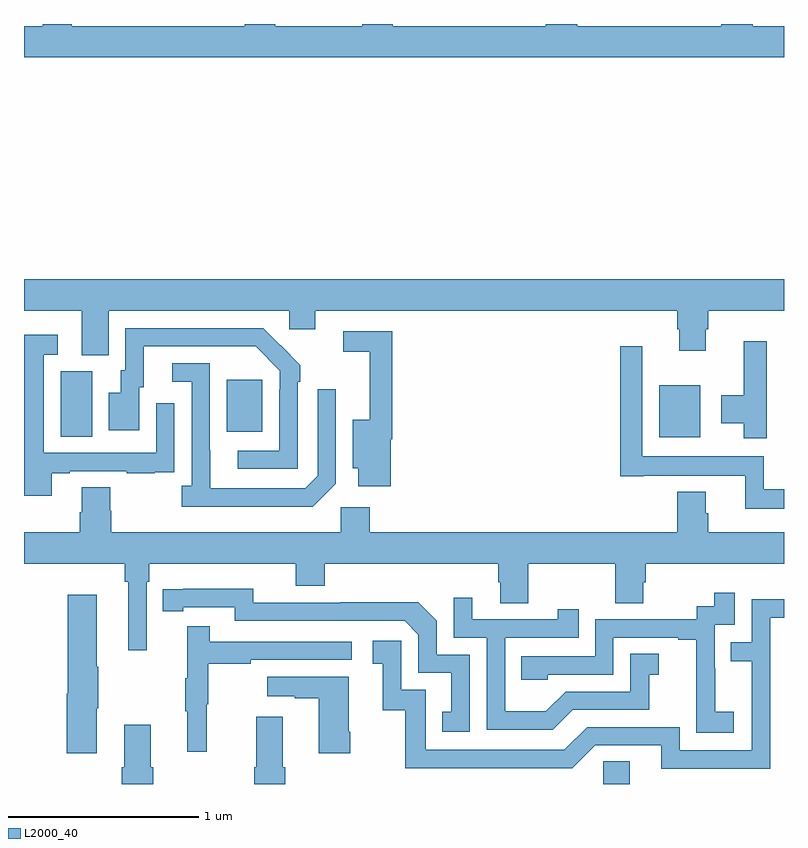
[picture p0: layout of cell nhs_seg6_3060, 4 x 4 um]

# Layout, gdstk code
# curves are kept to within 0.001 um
import gdstk
lib = gdstk.Library(unit=1e-6, precision=1e-09)
def R(c, l, rs):  # rectangles x0, y0, x1, y1
    for r in rs: c.add(gdstk.rectangle(r[:2], r[2:], *l))
def P(c, l, *ps):  # polygons
    for p in ps: c.add(gdstk.Polygon(p, *l))
L2000_40 = (2000, 40)

nhs_seg6_3060 = lib.new_cell('nhs_seg6_3060')
R(nhs_seg6_3060, L2000_40, [(294.048,955.5,294.187,955.619), (294.344,957.326,294.559,957.598), (291.194,957.328,291.358,957.672), (292.067,957.353,292.255,957.628)])
P(nhs_seg6_3060, L2000_40, [(295,959.488),(294.836,959.488),(294.836,959.5),(294.671,959.5),(294.671,959.488),(293.912,959.488),(293.912,959.5),(293.747,959.5),(293.747,959.488),(292.94,959.488),(292.94,959.5),(292.78,959.5),(292.78,959.488),(292.323,959.488),(292.323,959.5),(292.163,959.5),(292.163,959.488),(291.251,959.488),(291.251,959.5),(291.098,959.5),(291.098,959.488),(291,959.488),(291,959.324),(295,959.324)],
  [(291.445,957.992),(292.395,957.992),(292.395,957.894),(292.534,957.894),(292.534,957.992),(294.437,957.992),(294.437,957.894),(294.449,957.894),(294.449,957.78),(294.589,957.78),(294.589,957.894),(294.602,957.894),(294.602,957.992),(295,957.992),(295,958.156),(291,958.156),(291,957.992),(291.305,957.992),(291.305,957.757),(291.445,957.757)],
  [(292.44,957.617),(292.455,957.617),(292.455,957.705),(292.258,957.9),(291.534,957.9),(291.534,957.678),(291.509,957.678),(291.509,957.559),(291.446,957.559),(291.446,957.363),(291.607,957.363),(291.607,957.588),(291.631,957.588),(291.631,957.804),(292.219,957.804),(292.347,957.675),(292.347,957.575),(292.344,957.575),(292.344,957.255),(292.125,957.255),(292.125,957.159),(292.44,957.159)],
  [(292.931,957.314),(292.937,957.314),(292.937,957.882),(292.68,957.882),(292.68,957.774),(292.82,957.774),(292.82,957.418),(292.73,957.418),(292.73,957.161),(292.76,957.161),(292.76,957.066),(292.931,957.066)],
  [(291.145,957.135),(291.241,957.135),(291.241,957.147),(291.541,957.147),(291.541,957.135),(291.689,957.135),(291.689,957.141),(291.791,957.141),(291.791,957.25),(291.792,957.25),(291.792,957.505),(291.696,957.505),(291.696,957.243),(291.105,957.243),(291.105,957.759),(291.178,957.759),(291.178,957.865),(291,957.865),(291,957.018),(291.145,957.018)],
  [(294.91,957.829),(294.788,957.829),(294.788,957.546),(294.671,957.546),(294.671,957.398),(294.788,957.398),(294.788,957.321),(294.91,957.321)],
  [(295,957.052),(294.894,957.052),(294.894,957.226),(294.255,957.226),(294.255,957.805),(294.139,957.805),(294.139,957.12),(294.262,957.12),(294.262,957.122),(294.797,957.122),(294.797,956.948),(295,956.948)],
  [(292.641,957.081),(292.641,957.577),(292.545,957.577),(292.545,957.123),(292.479,957.057),(291.979,957.057),(291.978,957.714),(291.78,957.714),(291.78,957.618),(291.882,957.618),(291.882,957.07),(291.831,957.07),(291.831,956.96),(292.52,956.96)],
  [(291.645,956.564),(291.659,956.564),(291.659,956.66),(292.43,956.66),(292.43,956.543),(292.583,956.543),(292.583,956.66),(293.495,956.66),(293.495,956.562),(293.507,956.562),(293.507,956.452),(293.655,956.452),(293.655,956.66),(294.112,956.66),(294.112,956.452),(294.259,956.452),(294.259,956.562),(294.272,956.562),(294.272,956.66),(295,956.66),(295,956.824),(294.602,956.824),(294.602,956.925),(294.589,956.925),(294.589,957.037),(294.437,957.037),(294.437,956.824),(292.82,956.824),(292.82,956.956),(292.668,956.956),(292.668,956.824),(291.458,956.824),(291.458,956.937),(291.453,956.937),(291.453,957.062),(291.305,957.062),(291.305,956.93),(291.293,956.93),(291.293,956.824),(291,956.824),(291,956.66),(291.529,956.66),(291.529,956.564),(291.548,956.564),(291.548,956.205),(291.645,956.205)],
  [(293.346,956.181),(293.172,956.181),(293.172,956.358),(293.074,956.456),(292.666,956.456),(292.666,956.454),(292.206,956.454),(292.206,956.527),(291.73,956.526),(291.73,956.41),(291.838,956.41),(291.838,956.43),(292.11,956.43),(292.11,956.358),(293.004,956.358),(293.076,956.286),(293.076,956.085),(293.249,956.085),(293.249,955.881),(293.2,955.881),(293.2,955.776),(293.346,955.776)],
  [(294.736,955.879),(294.638,955.879),(294.638,956.108),(294.636,956.108),(294.636,956.337),(294.741,956.337),(294.741,956.506),(294.633,956.506),(294.633,956.436),(294.54,956.436),(294.54,956.367),(294.006,956.367),(294.006,956.172),(293.617,956.172),(293.617,956.049),(293.757,956.049),(293.757,956.076),(294.102,956.076),(294.102,956.271),(294.443,956.271),(294.443,956.259),(294.539,956.259),(294.539,955.975),(294.538,955.975),(294.538,955.769),(294.736,955.769)],
  [(291.382,955.9),(291.39,955.9),(291.39,956.117),(291.382,956.117),(291.382,956.497),(291.229,956.497),(291.229,955.974),(291.224,955.974),(291.224,955.662),(291.382,955.662)],
  [(293.887,955.89),(294.291,955.89),(294.291,956.075),(294.34,956.075),(294.34,956.185),(294.192,956.185),(294.192,955.986),(293.85,955.986),(293.746,955.882),(293.532,955.882),(293.532,956.271),(293.921,956.271),(293.921,956.419),(293.81,956.419),(293.81,956.367),(293.359,956.367),(293.359,956.479),(293.262,956.479),(293.262,956.271),(293.436,956.271),(293.436,955.785),(293.782,955.785)],
  [(294.927,956.376),(295,956.376),(295,956.472),(294.831,956.472),(294.831,956.247),(294.721,956.247),(294.721,956.146),(294.831,956.146),(294.831,955.677),(294.45,955.677),(294.45,955.8),(293.964,955.8),(293.844,955.68),(293.115,955.68),(293.115,955.995),(292.986,955.995),(292.986,956.254),(292.836,956.254),(292.836,956.133),(292.889,956.133),(292.889,955.887),(293.007,955.887),(293.007,955.584),(293.886,955.584),(294.006,955.704),(294.353,955.704),(294.353,955.581),(294.927,955.581)],
  [(291.962,955.92),(291.97,955.92),(291.97,956.134),(292.193,956.134),(292.193,956.154),(292.726,956.154),(292.726,956.25),(291.977,956.25),(291.977,956.329),(291.86,956.329),(291.86,956.057),(291.849,956.057),(291.849,955.883),(291.86,955.883),(291.86,955.671),(291.962,955.671)],
  [(292.716,955.774),(292.708,955.774),(292.708,956.065),(292.281,956.065),(292.281,955.961),(292.424,955.961),(292.424,955.951),(292.55,955.951),(292.55,955.662),(292.716,955.662)],
  [(292.376,955.588),(292.363,955.588),(292.363,955.855),(292.223,955.855),(292.223,955.588),(292.211,955.588),(292.211,955.5),(292.376,955.5)],
  [(291.68,955.588),(291.667,955.588),(291.667,955.813),(291.527,955.813),(291.527,955.588),(291.515,955.588),(291.515,955.5),(291.68,955.5)])

lib.write_gds('nhs_seg6_3060.gds')
